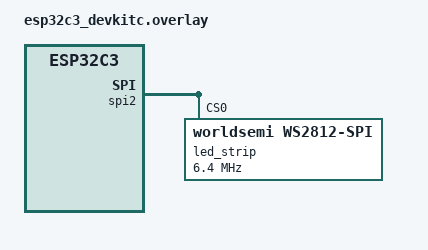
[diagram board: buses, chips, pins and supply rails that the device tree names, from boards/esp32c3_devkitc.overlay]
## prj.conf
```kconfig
CONFIG_GPIO=y
CONFIG_SPI=y
CONFIG_LED_STRIP=y
CONFIG_WS2812_STRIP_SPI=y
```

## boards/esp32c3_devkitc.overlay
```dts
#include <zephyr/dt-bindings/led/led.h>


&spi2 {
    led_strip: ws2812@0 {
        compatible = "worldsemi,ws2812-spi";
        reg = <0>;
        spi-max-frequency = <6400000>;
        chain-length = <1>;
        color-mapping = <LED_COLOR_ID_GREEN
                         LED_COLOR_ID_RED
                         LED_COLOR_ID_BLUE>;
        reset-delay = <250>;
        spi-one-frame = <0x70>;
        spi-zero-frame = <0x40>;
    };
};

/ {
    aliases {
        led-strip = &led_strip;
    };
};
```

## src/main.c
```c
#include <zephyr/kernel.h>
#include <zephyr/drivers/led_strip.h>
#include <zephyr/device.h>

int main(void)
{
	while (true)
	{
		printk("Hello from ESP32C3!\n");
		k_msleep(1000);
	}
}
```
